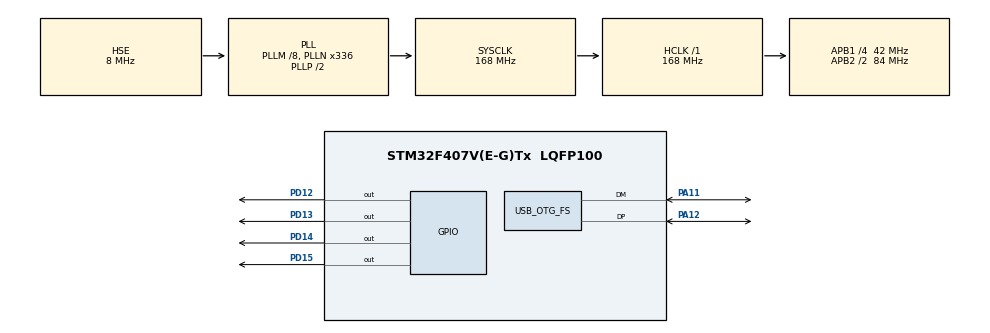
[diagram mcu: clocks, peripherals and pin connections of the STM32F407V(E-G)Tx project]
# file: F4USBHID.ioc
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Mcu.Family=STM32F4
Mcu.Name=STM32F407V(E-G)Tx
Mcu.Package=LQFP100
NVIC.OTG_FS_IRQn=true\:0\:0\:false
NVIC.PriorityGroup=NVIC_PRIORITYGROUP_4
PA11.Mode=Device_Only
PA11.Signal=USB_OTG_FS_DM
PA12.Mode=Device_Only
PA12.Signal=USB_OTG_FS_DP
PA13.Mode=Serial-Wire
PA13.Signal=SYS_JTMS-SWDIO
PA14.Mode=Serial-Wire
PA14.Signal=SYS_JTCK-SWCLK
PC14-OSC32_IN.Mode=LSE-External-Oscillator
PC14-OSC32_IN.Signal=RCC_OSC32_IN
PC15-OSC32_OUT.Mode=LSE-External-Oscillator
PC15-OSC32_OUT.Signal=RCC_OSC32_OUT
PD12.Signal=GPIO_Output
PD13.Signal=GPIO_Output
PD14.Signal=GPIO_Output
PD15.Signal=GPIO_Output
PH0-OSC_IN.Mode=HSE-External-Oscillator
PH0-OSC_IN.Signal=RCC_OSC_IN
PH1-OSC_OUT.Mode=HSE-External-Oscillator
PH1-OSC_OUT.Signal=RCC_OSC_OUT
ProjectManager.TargetToolchain=MDK-ARM V5
RCC.48MHZClocksFreq_Value=48000000
RCC.AHBFreq_Value=168000000
RCC.APB1CLKDivider=RCC_HCLK_DIV4
RCC.APB1Freq_Value=42000000
RCC.APB1TimFreq_Value=84000000
RCC.APB2CLKDivider=RCC_HCLK_DIV2
RCC.APB2Freq_Value=84000000
RCC.APB2TimFreq_Value=168000000
RCC.CortexFreq_Value=168000000
RCC.HCLKFreq_Value=168000000
RCC.HSE_VALUE=8000000
RCC.HSI_VALUE=16000000
RCC.PLLM=8
RCC.PLLN=336
RCC.PLLQ=7
RCC.SYSCLKFreq_VALUE=168000000
RCC.SYSCLKSource=RCC_SYSCLKSOURCE_PLLCLK
RCC.VCOOutputFreq_Value=336000000
USB_DEVICE.CLASS_NAME-HID_FS=HID
USB_DEVICE.USBD_HandleTypeDef-HID_FS=hUsbDeviceFS
USB_DEVICE.VirtualMode-HID_FS=Hid
USB_DEVICE.VirtualModeFS=Hid_FS
USB_OTG_FS.VirtualMode=Device_Only
USB_OTG_FS.vbus_sensing_enable=DISABLE
VP_USB_DEVICE_VS_USB_DEVICE_HID_FS.Mode=HID_FS
board=F4USBHID

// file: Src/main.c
/**
  ******************************************************************************
  * File Name          : main.c
  * Description        : Main program body
  ******************************************************************************
  *
  * COPYRIGHT(c) 2015 STMicroelectronics
  *
  * Redistribution and use in source and binary forms, with or without modification,
  * are permitted provided that the following conditions are met:
  *   1. Redistributions of source code must retain the above copyright notice,
  *      this list of conditions and the following disclaimer.
  *   2. Redistributions in binary form must reproduce the above copyright notice,
  *      this list of conditions and the following disclaimer in the documentation
  *      and/or other materials provided with the distribution.
  *   3. Neither the name of STMicroelectronics nor the names of its contributors
  *      may be used to endorse or promote products derived from this software
  *      without specific prior written permission.
  *
  * THIS SOFTWARE IS PROVIDED BY THE COPYRIGHT HOLDERS AND CONTRIBUTORS "AS IS"
  * AND ANY EXPRESS OR IMPLIED WARRANTIES, INCLUDING, BUT NOT LIMITED TO, THE
  * IMPLIED WARRANTIES OF MERCHANTABILITY AND FITNESS FOR A PARTICULAR PURPOSE ARE
  * DISCLAIMED. IN NO EVENT SHALL THE COPYRIGHT HOLDER OR CONTRIBUTORS BE LIABLE
  * FOR ANY DIRECT, INDIRECT, INCIDENTAL, SPECIAL, EXEMPLARY, OR CONSEQUENTIAL
  * DAMAGES (INCLUDING, BUT NOT LIMITED TO, PROCUREMENT OF SUBSTITUTE GOODS OR
  * SERVICES; LOSS OF USE, DATA, OR PROFITS; OR BUSINESS INTERRUPTION) HOWEVER
  * CAUSED AND ON ANY THEORY OF LIABILITY, WHETHER IN CONTRACT, STRICT LIABILITY,
  * OR TORT (INCLUDING NEGLIGENCE OR OTHERWISE) ARISING IN ANY WAY OUT OF THE USE
  * OF THIS SOFTWARE, EVEN IF ADVISED OF THE POSSIBILITY OF SUCH DAMAGE.
  *
  ******************************************************************************
  */
#include "stm32f4xx_hal.h"
#include "usb_device.h"

/* USER CODE BEGIN Includes */
#include "usbd_hid.h"
/* USER CODE END Includes */

/* USER CODE BEGIN PV */
/* Private variables ---------------------------------------------------------*/

/* USER CODE END PV */

void SystemClock_Config(void);
static void MX_GPIO_Init(void);

/* USER CODE BEGIN PFP */
/* Private function prototypes -----------------------------------------------*/

/* USER CODE END PFP */

/* USER CODE BEGIN 0 */
extern USBD_HandleTypeDef hUsbDeviceFS;
/* USER CODE END 0 */

int main(void)
{

  /* MCU Configuration----------------------------------------------------------*/

  /* Reset of all peripherals, Initializes the Flash interface and the Systick. */
  HAL_Init();

  /* Configure the system clock */
  SystemClock_Config();

  /* Initialize all configured peripherals */
  MX_GPIO_Init();
  MX_USB_DEVICE_Init();

  /* Infinite loop */
  while (1)
  {

  }

}

/** System Clock Configuration
*/
void SystemClock_Config(void)
{

  RCC_OscInitTypeDef RCC_OscInitStruct;
  RCC_ClkInitTypeDef RCC_ClkInitStruct;

  __PWR_CLK_ENABLE();

  __HAL_PWR_VOLTAGESCALING_CONFIG(PWR_REGULATOR_VOLTAGE_SCALE1);

  RCC_OscInitStruct.OscillatorType = RCC_OSCILLATORTYPE_HSE;
  RCC_OscInitStruct.HSEState = RCC_HSE_ON;
  RCC_OscInitStruct.PLL.PLLState = RCC_PLL_ON;
  RCC_OscInitStruct.PLL.PLLSource = RCC_PLLSOURCE_HSE;
  RCC_OscInitStruct.PLL.PLLM = 8;
  RCC_OscInitStruct.PLL.PLLN = 336;
  RCC_OscInitStruct.PLL.PLLP = RCC_PLLP_DIV2;
  RCC_OscInitStruct.PLL.PLLQ = 7;
  HAL_RCC_OscConfig(&RCC_OscInitStruct);

  RCC_ClkInitStruct.ClockType = RCC_CLOCKTYPE_SYSCLK|RCC_CLOCKTYPE_PCLK1
                              |RCC_CLOCKTYPE_PCLK2;
  RCC_ClkInitStruct.SYSCLKSource = RCC_SYSCLKSOURCE_PLLCLK;
  RCC_ClkInitStruct.AHBCLKDivider = RCC_SYSCLK_DIV1;
  RCC_ClkInitStruct.APB1CLKDivider = RCC_HCLK_DIV4;
  RCC_ClkInitStruct.APB2CLKDivider = RCC_HCLK_DIV2;
  HAL_RCC_ClockConfig(&RCC_ClkInitStruct, FLASH_LATENCY_5);

  HAL_SYSTICK_Config(HAL_RCC_GetHCLKFreq()/1000);

  HAL_SYSTICK_CLKSourceConfig(SYSTICK_CLKSOURCE_HCLK);

}

/** Configure pins as
        * Analog
        * Input
        * Output
        * EVENT_OUT
        * EXTI
*/
void MX_GPIO_Init(void)
{

  GPIO_InitTypeDef GPIO_InitStruct;

  /* GPIO Ports Clock Enable */
  __GPIOC_CLK_ENABLE();
  __GPIOH_CLK_ENABLE();
  __GPIOD_CLK_ENABLE();
  __GPIOA_CLK_ENABLE();

  /*Configure GPIO pins : PD12 PD13 PD14 PD15 */
  GPIO_InitStruct.Pin = GPIO_PIN_12|GPIO_PIN_13|GPIO_PIN_14|GPIO_PIN_15;
  GPIO_InitStruct.Mode = GPIO_MODE_OUTPUT_PP;
  GPIO_InitStruct.Pull = GPIO_NOPULL;
  GPIO_InitStruct.Speed = GPIO_SPEED_LOW;
  HAL_GPIO_Init(GPIOD, &GPIO_InitStruct);

}

/* USER CODE BEGIN 4 */
//was "__weak void HAL_SYSTICK_Callback(void)" in stm32f4xx_hal_cortex.c
uint16_t counter=0;
void HAL_SYSTICK_Callback(void)
{
	int8_t buf[4] = {0};

  if(!(HAL_GetTick()%10))    //run every 10ms
  {
    if(counter<200)
    {
      buf[1]=1; buf[2]=1;
      HAL_GPIO_WritePin(GPIOD,GPIO_PIN_15,GPIO_PIN_RESET);
      HAL_GPIO_WritePin(GPIOD,GPIO_PIN_12,GPIO_PIN_SET);
    }
    else if(counter<400)
    {
      buf[1]=1; buf[2]=-1;
      HAL_GPIO_WritePin(GPIOD,GPIO_PIN_12,GPIO_PIN_RESET);
      HAL_GPIO_WritePin(GPIOD,GPIO_PIN_13,GPIO_PIN_SET);
    }
    else if(counter<600)
    {
      buf[1]=-1; buf[2]=-1;
      HAL_GPIO_WritePin(GPIOD,GPIO_PIN_13,GPIO_PIN_RESET);
      HAL_GPIO_WritePin(GPIOD,GPIO_PIN_14,GPIO_PIN_SET);
    }
    else if(counter<800)
    {
      buf[1]=-1; buf[2]=1;
      HAL_GPIO_WritePin(GPIOD,GPIO_PIN_14,GPIO_PIN_RESET);
      HAL_GPIO_WritePin(GPIOD,GPIO_PIN_15,GPIO_PIN_SET);
    }
    if(++counter>=800)
      counter=0;

    USBD_HID_SendReport(&hUsbDeviceFS,(uint8_t*)buf,4);  //run as USB mouse
  }
}
/* USER CODE END 4 */

/************************ (C) COPYRIGHT STMicroelectronics *****END OF FILE****/
